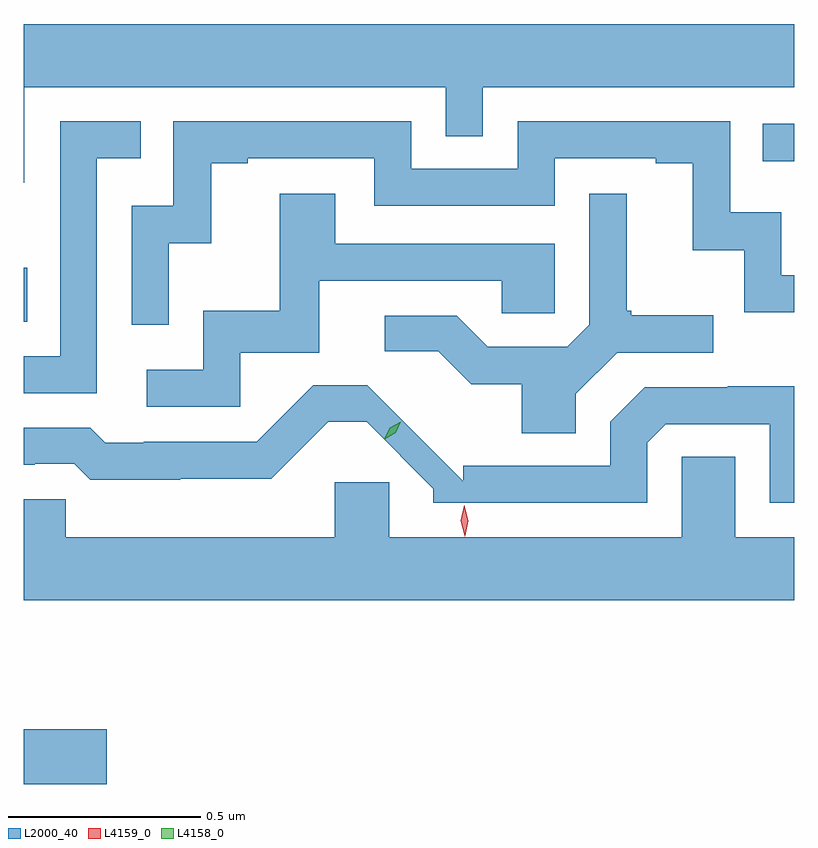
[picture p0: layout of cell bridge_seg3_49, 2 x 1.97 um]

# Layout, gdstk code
import gdstk
lib = gdstk.Library(unit=1e-6, precision=1e-09)
def R(c, l, rs):  # rectangles x0, y0, x1, y1
    for r in rs: c.add(gdstk.rectangle(r[:2], r[2:], *l))
def P(c, l, *ps):  # polygons
    for p in ps: c.add(gdstk.Polygon(p, *l))
L2000_40 = (2000, 40)
L4158_0 = (4158, 0)
L4159_0 = (4159, 0)

bridge_seg3_49 = lib.new_cell('bridge_seg3_49')
R(bridge_seg3_49, L2000_40, [(1128.332,708.431,1128.547,708.573), (1128.332,709.631,1128.341,709.771), (1130.251,710.048,1130.332,710.145)])
P(bridge_seg3_49, L2000_40, [(1128.333,710.24),(1129.428,710.24),(1129.428,710.113),(1129.524,710.113),(1129.524,710.24),(1130.332,710.24),(1130.332,710.404),(1128.332,710.404),(1128.332,709.992),(1128.333,709.992)],
  [(1128.522,710.055),(1128.635,710.055),(1128.635,710.151),(1128.426,710.151),(1128.426,709.542),(1128.332,709.542),(1128.332,709.446),(1128.522,709.446)],
  [(1128.708,709.835),(1128.818,709.835),(1128.818,710.043),(1128.913,710.043),(1128.913,710.055),(1129.242,710.055),(1129.242,709.932),(1129.71,709.932),(1129.71,710.055),(1129.973,710.055),(1129.973,710.043),(1130.069,710.043),(1130.069,709.817),(1130.202,709.817),(1130.202,709.656),(1130.332,709.656),(1130.332,709.752),(1130.298,709.752),(1130.298,709.915),(1130.166,709.915),(1130.166,710.151),(1129.614,710.151),(1129.614,710.028),(1129.338,710.028),(1129.338,710.151),(1128.72,710.151),(1128.72,709.932),(1128.612,709.932),(1128.612,709.623),(1128.708,709.623)],
  [(1128.894,709.551),(1129.099,709.551),(1129.099,709.737),(1129.573,709.737),(1129.573,709.653),(1129.71,709.653),(1129.71,709.833),(1129.141,709.833),(1129.141,709.963),(1128.997,709.963),(1128.997,709.66),(1128.798,709.66),(1128.798,709.506),(1128.651,709.506),(1128.651,709.41),(1128.894,709.41)],
  [(1129.765,709.444),(1129.872,709.551),(1130.122,709.551),(1130.122,709.648),(1129.909,709.648),(1129.909,709.66),(1129.897,709.66),(1129.897,709.963),(1129.8,709.963),(1129.8,709.623),(1129.743,709.566),(1129.537,709.566),(1129.456,709.647),(1129.269,709.647),(1129.269,709.554),(1129.408,709.554),(1129.493,709.469),(1129.625,709.469),(1129.625,709.342),(1129.765,709.342)],
  [(1129.95,709.317),(1129.998,709.365),(1130.268,709.365),(1130.268,709.161),(1130.332,709.161),(1130.332,709.463),(1130.16,709.463),(1130.16,709.461),(1129.944,709.461),(1129.854,709.371),(1129.854,709.257),(1129.473,709.257),(1129.473,709.217),(1129.224,709.466),(1129.083,709.466),(1128.937,709.32),(1128.643,709.32),(1128.643,709.317),(1128.544,709.317),(1128.505,709.356),(1128.332,709.356),(1128.332,709.26),(1128.36,709.26),(1128.36,709.263),(1128.463,709.263),(1128.505,709.221),(1128.738,709.221),(1128.738,709.223),(1128.975,709.223),(1129.123,709.371),(1129.222,709.371),(1129.395,709.198),(1129.395,709.161),(1129.95,709.161)],
  [(1130.332,709.072),(1130.179,709.072),(1130.179,709.28),(1130.04,709.28),(1130.04,709.072),(1129.281,709.072),(1129.281,709.215),(1129.139,709.215),(1129.139,709.072),(1128.441,709.072),(1128.441,709.17),(1128.332,709.17),(1128.332,708.908),(1130.332,708.908)])
P(bridge_seg3_49, L4158_0, [(1129.268,709.326),(1129.268,709.327),(1129.282,709.356),(1129.31,709.372),(1129.31,709.372),(1129.31,709.372),(1129.297,709.343),(1129.269,709.326)])
P(bridge_seg3_49, L4159_0, [(1129.477,709.074),(1129.477,709.075),(1129.466,709.115),(1129.475,709.155),(1129.475,709.155),(1129.475,709.155),(1129.486,709.115),(1129.478,709.075)])

lib.write_gds('bridge_seg3_49.gds')
